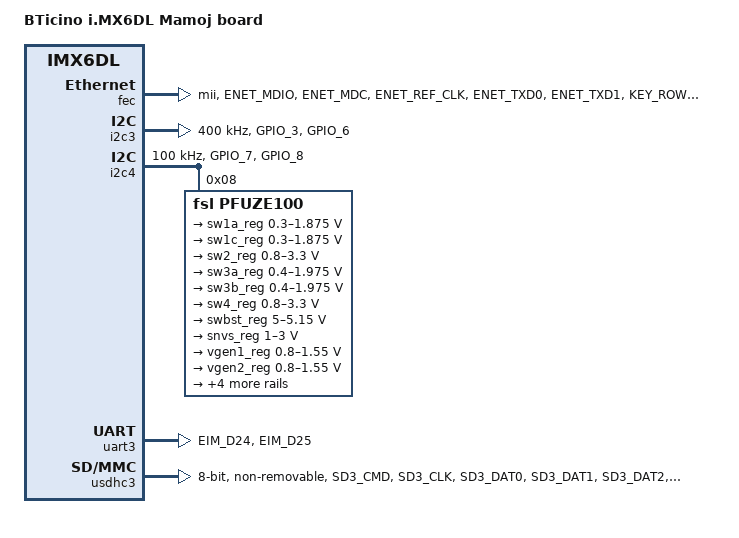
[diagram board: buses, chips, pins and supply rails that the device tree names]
// SPDX-License-Identifier: (GPL-2.0+ OR MIT)
/*
 * Copyright (C) 2018 BTicino
 * Copyright (C) 2018 Amarula Solutions B.V.
 */

/dts-v1/;

#include "imx6dl.dtsi"

/ {
	model = "BTicino i.MX6DL Mamoj board";
	compatible = "bticino,imx6dl-mamoj", "fsl,imx6dl";
};

&fec {
	pinctrl-names = "default";
	pinctrl-0 = <&pinctrl_enet>;
	phy-mode = "mii";
	status = "okay";
};

&i2c3 {
	clock-frequency = <400000>;
	pinctrl-names = "default";
	pinctrl-0 = <&pinctrl_i2c3>;
	status = "okay";
};

&i2c4 {
	clock-frequency = <100000>;
	pinctrl-names = "default";
	pinctrl-0 = <&pinctrl_i2c4>;
	status = "okay";

	pfuze100: pmic@8 {
		compatible = "fsl,pfuze100";
		reg = <0x08>;

		regulators {
			/* CPU vdd_arm core */
			sw1a_reg: sw1ab {
				regulator-min-microvolt = <300000>;
				regulator-max-microvolt = <1875000>;
				regulator-boot-on;
				regulator-always-on;
				regulator-ramp-delay = <6250>;
			};

			/* SOC vdd_soc */
			sw1c_reg: sw1c {
				regulator-min-microvolt = <300000>;
				regulator-max-microvolt = <1875000>;
				regulator-boot-on;
				regulator-always-on;
				regulator-ramp-delay = <6250>;
			};

			/* I/O power GEN_3V3 */
			sw2_reg: sw2 {
				regulator-min-microvolt = <800000>;
				regulator-max-microvolt = <3300000>;
				regulator-boot-on;
				regulator-always-on;
			};

			/* DDR memory */
			sw3a_reg: sw3a {
				regulator-min-microvolt = <400000>;
				regulator-max-microvolt = <1975000>;
				regulator-boot-on;
				regulator-always-on;
			};

			/* DDR memory */
			sw3b_reg: sw3b {
				regulator-min-microvolt = <400000>;
				regulator-max-microvolt = <1975000>;
				regulator-boot-on;
				regulator-always-on;
			};

			/* not used */
			sw4_reg: sw4 {
				regulator-min-microvolt = <800000>;
				regulator-max-microvolt = <3300000>;
			};

			/* not used */
			swbst_reg: swbst {
				regulator-min-microvolt = <5000000>;
				regulator-max-microvolt = <5150000>;
			};

			/* PMIC vsnvs. EX boot mode */
			snvs_reg: vsnvs {
				regulator-min-microvolt = <1000000>;
				regulator-max-microvolt = <3000000>;
				regulator-boot-on;
				regulator-always-on;
			};

			vref_reg: vrefddr {
				regulator-boot-on;
				regulator-always-on;
			};

			/* not used */
			vgen1_reg: vgen1 {
				regulator-min-microvolt = <800000>;
				regulator-max-microvolt = <1550000>;
			};

			/* not used */
			vgen2_reg: vgen2 {
				regulator-min-microvolt = <800000>;
				regulator-max-microvolt = <1550000>;
			};

			/* not used */
			vgen3_reg: vgen3 {
				regulator-min-microvolt = <1800000>;
				regulator-max-microvolt = <3300000>;
			};

			/* 1v8 general power */
			vgen4_reg: vgen4 {
				regulator-min-microvolt = <1800000>;
				regulator-max-microvolt = <3300000>;
				regulator-always-on;
			};

			/* 2v8 general power IMX6 */
			vgen5_reg: vgen5 {
				regulator-min-microvolt = <1800000>;
				regulator-max-microvolt = <3300000>;
				regulator-always-on;
			};

			/* 3v3 Ethernet */
			vgen6_reg: vgen6 {
				regulator-min-microvolt = <1800000>;
				regulator-max-microvolt = <3300000>;
				regulator-always-on;
			};
		};
	};
};

&uart3 {
	pinctrl-names = "default";
	pinctrl-0 = <&pinctrl_uart3>;
	status = "okay";
};

&usdhc3 {
	pinctrl-names = "default";
	pinctrl-0 = <&pinctrl_usdhc3>;
	bus-width = <8>;
	non-removable;
	keep-power-in-suspend;
	status = "okay";
};

&iomuxc {
	pinctrl_enet: enetgrp {
		fsl,pins = <
			MX6QDL_PAD_ENET_MDIO__ENET_MDIO		0x1b0b0
			MX6QDL_PAD_ENET_MDC__ENET_MDC		0x1b0b0
			MX6QDL_PAD_ENET_REF_CLK__ENET_TX_CLK	0x1b0b1
			MX6QDL_PAD_ENET_TXD0__ENET_TX_DATA0	0x1b0b0
			MX6QDL_PAD_ENET_TXD1__ENET_TX_DATA1	0x1b0b0
			MX6QDL_PAD_KEY_ROW2__ENET_TX_DATA2	0x1b0b0
			MX6QDL_PAD_KEY_ROW0__ENET_TX_DATA3	0x1b0b0
			MX6QDL_PAD_ENET_TX_EN__ENET_TX_EN	0x1b0b0
			MX6QDL_PAD_GPIO_19__ENET_TX_ER		0x1b0b0
			MX6QDL_PAD_GPIO_18__ENET_RX_CLK		0x1b0b1
			MX6QDL_PAD_ENET_RXD0__ENET_RX_DATA0	0x1b0b0
			MX6QDL_PAD_ENET_RXD1__ENET_RX_DATA1	0x1b0b0
			MX6QDL_PAD_KEY_COL2__ENET_RX_DATA2	0x1b0b0
			MX6QDL_PAD_KEY_COL0__ENET_RX_DATA3      0x1b0b0
			MX6QDL_PAD_ENET_CRS_DV__ENET_RX_EN	0x1b0b0
			MX6QDL_PAD_ENET_RX_ER__ENET_RX_ER	0x1b0b0
			MX6QDL_PAD_KEY_COL3__ENET_CRS		0x1b0b0
			MX6QDL_PAD_KEY_ROW1__ENET_COL		0x1b0b0
		>;
	};

	pinctrl_i2c3: i2c3grp {
		fsl,pins = <
			MX6QDL_PAD_GPIO_3__I2C3_SCL     0x4001b8b1
			MX6QDL_PAD_GPIO_6__I2C3_SDA     0x4001b8b1
		>;
	};

	pinctrl_i2c4: i2c4grp {
		fsl,pins = <
			MX6QDL_PAD_GPIO_7__I2C4_SCL	0x4001b8b1
			MX6QDL_PAD_GPIO_8__I2C4_SDA	0x4001b8b1
		>;
	};

	pinctrl_uart3: uart3grp {
		fsl,pins = <
			MX6QDL_PAD_EIM_D24__UART3_TX_DATA	0x1b0b1
			MX6QDL_PAD_EIM_D25__UART3_RX_DATA	0x1b0b1
		>;
	};

	pinctrl_usdhc3: usdhc3grp {
		fsl,pins = <
			MX6QDL_PAD_SD3_CMD__SD3_CMD	0x17059
			MX6QDL_PAD_SD3_CLK__SD3_CLK	0x10059
			MX6QDL_PAD_SD3_DAT0__SD3_DATA0	0x17059
			MX6QDL_PAD_SD3_DAT1__SD3_DATA1	0x17059
			MX6QDL_PAD_SD3_DAT2__SD3_DATA2	0x17059
			MX6QDL_PAD_SD3_DAT3__SD3_DATA3	0x17059
			MX6QDL_PAD_SD3_DAT4__SD3_DATA4	0x17059
			MX6QDL_PAD_SD3_DAT5__SD3_DATA5	0x17059
			MX6QDL_PAD_SD3_DAT6__SD3_DATA6	0x17059
			MX6QDL_PAD_SD3_DAT7__SD3_DATA7	0x17059
		>;
	};
};
